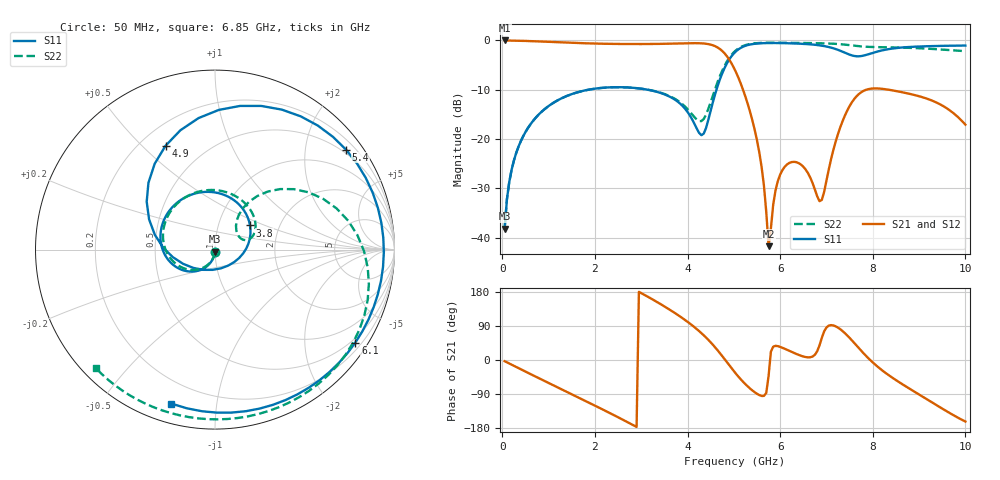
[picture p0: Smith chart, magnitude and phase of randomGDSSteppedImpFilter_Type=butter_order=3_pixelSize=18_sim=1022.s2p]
! freq	dB(S11)	phase(S11)	dB(S12)	phase(S12)
!  dB(S21)	phase(S21)	dB(S22)	phase(S22)
!S-par simulation data
#  GHz  S  DB  R 50
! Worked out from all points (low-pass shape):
!   200 points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, 50 MHz to 10 GHz, reference 50 ohm
!   highest |S21| = -0.01 dB at 50 MHz (marker M1); lowest = -41.7 dB at 5.75 GHz (marker M2)
!   |S21| within 3 dB of the highest: start of sweep to 4.833 GHz
!   lowest |S11| = -38.2 dB at 50 MHz (marker M3), VSWR 1.03, Z = 49.9 - j1.23 ohm
!   |S11| at or under -10 dB: start of sweep to 1.856 GHz; 3.143 GHz to 4.625 GHz (1.482 GHz wide, 38.2 % of centre)
!   |S22| runs from -38.2 to -0.5 dB; largest |S21 - S12| = 0
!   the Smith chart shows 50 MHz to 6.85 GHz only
!   S11 on the Smith chart (normalised r, x): 50 MHz: 1.00, -0.02; 3.8 GHz: 1.42, +0.40; 4.9 GHz: 0.30, +0.59; 5.4 GHz: 0.41, +2.91; 6.1 GHz: 0.38, -3.28; 6.85 GHz: 0.09, -0.75
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0.05  -38.16 -92.6  -0.01 -3.1  -0.01 -3.1  -38.16 -92.7
0.2  -26.27 -101.8  -0.03 -12.3  -0.03 -12.3  -26.28 -102.9
0.5  -18.58 -119.7  -0.10 -30.6  -0.10 -30.6  -18.59 -122.4
1.75  -10.21 169.3  -0.57 -105.3  -0.57 -105.3  -10.21 158.6
2.65  -9.51 118.3  -0.73 -160.5  -0.73 -160.5  -9.51 99.7
3.4  -10.59 69.4  -0.70 148.8  -0.70 148.8  -10.54 48.7
3.8  -12.50 34.6  -0.62 118.1  -0.62 118.1  -12.28 24.2
4.35  -18.89 -96.5  -0.62 65.2  -0.62 65.2  -15.92 42.1
4.9  -3.86 115.5  -3.88 -13.8  -3.88 -13.8  -3.54 25.2
5.05  -2.17 88.4  -6.52 -36.9  -6.52 -36.9  -1.96 5.8
5.4  -0.74 37.4  -16.21 -80.4  -16.21 -80.4  -0.65 -34.1
5.75  -0.53 -1.0  -41.71 -42.3  -41.71 -42.3  -0.47 -64.3
6.1  -0.56 -33.5  -25.60 29.6  -25.60 29.6  -0.48 -89.1
6.7  -0.83 -89.3  -28.92 9.1  -28.92 9.1  -0.55 -126.3
6.85  -1.00 -105.8  -32.59 38.7  -32.59 38.7  -0.57 -135.3
7.3  -2.10 -175.0  -17.56 81.1  -17.56 81.1  -0.76 -162.5
7.65  -3.21 97.2  -11.32 38.1  -11.32 38.1  -1.12 176.4
7.95  -2.68 24.5  -9.79 -0.8  -9.79 -0.8  -1.32 158.5
8.35  -1.75 -33.7  -10.00 -40.6  -10.00 -40.6  -1.39 131.0
9.1  -1.20 -89.7  -11.59 -98.5  -11.59 -98.5  -1.63 62.9
9.6  -1.08 -115.0  -13.77 -135.6  -13.77 -135.6  -1.92 2.6
10  -1.04 -133.2  -17.07 -162.3  -17.07 -162.3  -2.18 -51.9
